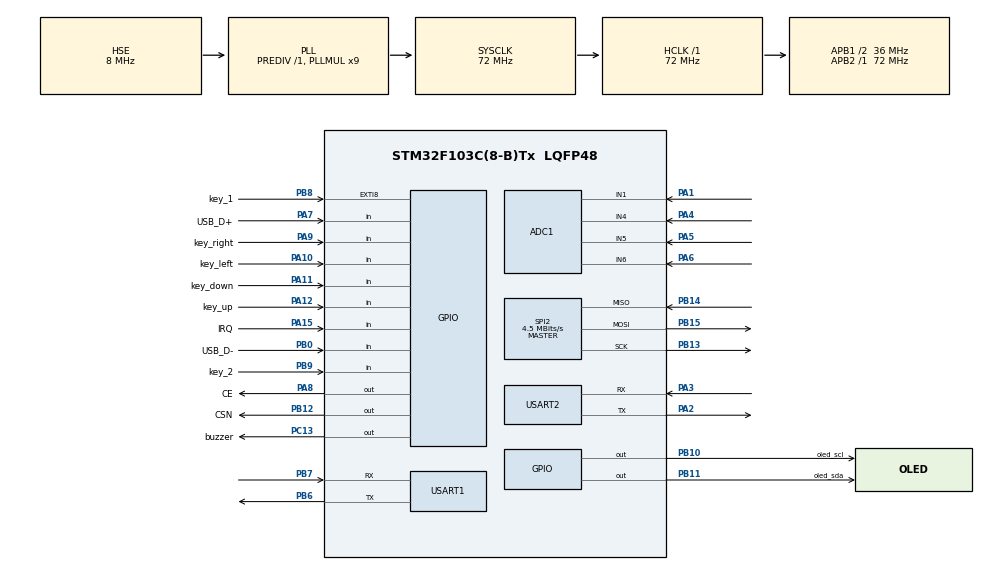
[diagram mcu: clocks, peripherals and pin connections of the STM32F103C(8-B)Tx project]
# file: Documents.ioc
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ADC1.Channel-0\#ChannelRegularConversion=ADC_CHANNEL_1
ADC1.Channel-1\#ChannelInjectedConversion=ADC_CHANNEL_1
ADC1.Channel-2\#ChannelInjectedConversion=ADC_CHANNEL_4
ADC1.Channel-3\#ChannelInjectedConversion=ADC_CHANNEL_5
ADC1.Channel-4\#ChannelInjectedConversion=ADC_CHANNEL_6
ADC1.ContinuousConvMode=ENABLE
ADC1.EnableInjectedConversion=ENABLE
ADC1.ExternalTrigConv=ADC_EXTERNALTRIGCONV_T3_TRGO
ADC1.InjNumberOfConversion=4
ADC1.InjectedOffset-1\#ChannelInjectedConversion=0
ADC1.InjectedOffset-2\#ChannelInjectedConversion=0
ADC1.InjectedOffset-3\#ChannelInjectedConversion=0
ADC1.InjectedOffset-4\#ChannelInjectedConversion=0
ADC1.InjectedRank-1\#ChannelInjectedConversion=1
ADC1.InjectedRank-2\#ChannelInjectedConversion=2
ADC1.InjectedRank-3\#ChannelInjectedConversion=3
ADC1.InjectedRank-4\#ChannelInjectedConversion=4
ADC1.NbrOfConversionFlag=1
ADC1.Rank-0\#ChannelRegularConversion=1
ADC1.SamplingTime-0\#ChannelRegularConversion=ADC_SAMPLETIME_55CYCLES_5
ADC1.SamplingTime-1\#ChannelInjectedConversion=ADC_SAMPLETIME_55CYCLES_5
ADC1.SamplingTime-2\#ChannelInjectedConversion=ADC_SAMPLETIME_55CYCLES_5
ADC1.SamplingTime-3\#ChannelInjectedConversion=ADC_SAMPLETIME_55CYCLES_5
ADC1.SamplingTime-4\#ChannelInjectedConversion=ADC_SAMPLETIME_55CYCLES_5
ADC1.master=1
Dma.ADC1.0.Direction=DMA_PERIPH_TO_MEMORY
Dma.ADC1.0.Instance=DMA1_Channel1
Dma.ADC1.0.MemDataAlignment=DMA_MDATAALIGN_HALFWORD
Dma.ADC1.0.MemInc=DMA_MINC_ENABLE
Dma.ADC1.0.Mode=DMA_CIRCULAR
Dma.ADC1.0.PeriphDataAlignment=DMA_PDATAALIGN_HALFWORD
Dma.ADC1.0.PeriphInc=DMA_PINC_DISABLE
Dma.ADC1.0.Priority=DMA_PRIORITY_LOW
Dma.Request0=ADC1
Mcu.Family=STM32F1
Mcu.Name=STM32F103C(8-B)Tx
Mcu.Package=LQFP48
NVIC.ADC1_2_IRQn=true\:0\:0\:false\:false\:true\:true\:true\:true
NVIC.DMA1_Channel1_IRQn=true\:0\:0\:false\:false\:true\:false\:true\:true
NVIC.PriorityGroup=NVIC_PRIORITYGROUP_4
NVIC.USART1_IRQn=true\:0\:0\:false\:false\:true\:true\:true\:true
NVIC.USART2_IRQn=true\:0\:0\:false\:false\:true\:true\:true\:true
PA0-WKUP.Mode=SYS_WakeUp0
PA0-WKUP.Signal=SYS_WKUP
PA1.Signal=ADCx_IN1
PA10.GPIO_Label=key_left
PA10.GPIO_PuPd=GPIO_PULLUP
PA10.Signal=GPIO_Input
PA11.GPIO_Label=key_down
PA11.GPIO_PuPd=GPIO_PULLUP
PA11.Signal=GPIO_Input
PA12.GPIO_Label=key_up
PA12.GPIO_PuPd=GPIO_PULLUP
PA12.Signal=GPIO_Input
PA13.Mode=Serial_Wire
PA13.Signal=SYS_JTMS-SWDIO
PA14.Mode=Serial_Wire
PA14.Signal=SYS_JTCK-SWCLK
PA15.GPIO_Label=IRQ
PA15.GPIO_PuPd=GPIO_PULLUP
PA15.Signal=GPIO_Input
PA2.Mode=Asynchronous
PA2.Signal=USART2_TX
PA3.Mode=Asynchronous
PA3.Signal=USART2_RX
PA4.Signal=ADCx_IN4
PA5.Signal=ADCx_IN5
PA6.Signal=ADCx_IN6
PA7.GPIO_Label=USB_D+
PA7.Signal=GPIO_Input
PA8.GPIO_Label=CE
PA8.Signal=GPIO_Output
PA9.GPIO_Label=key_right
PA9.GPIO_PuPd=GPIO_PULLUP
PA9.Signal=GPIO_Input
PB0.GPIO_Label=USB_D-
PB0.Signal=GPIO_Input
PB10.GPIO_Label=oled_scl
PB10.GPIO_PuPd=GPIO_PULLUP
PB10.Signal=GPIO_Output
PB11.GPIO_Label=oled_sda
PB11.GPIO_PuPd=GPIO_PULLDOWN
PB11.GPIO_Speed=GPIO_SPEED_FREQ_LOW
PB11.Signal=GPIO_Output
PB12.GPIO_Label=CSN
PB12.Signal=GPIO_Output
PB13.Mode=Full_Duplex_Master
PB13.Signal=SPI2_SCK
PB14.Mode=Full_Duplex_Master
PB14.Signal=SPI2_MISO
PB15.Mode=Full_Duplex_Master
PB15.Signal=SPI2_MOSI
PB6.Mode=Asynchronous
PB6.Signal=USART1_TX
PB7.Mode=Asynchronous
PB7.Signal=USART1_RX
PB8.GPIO_Label=key_1
PB8.GPIO_PuPd=GPIO_PULLUP
PB8.Signal=GPXTI8
PB9.GPIO_Label=key_2
PB9.GPIO_PuPd=GPIO_PULLUP
PB9.Signal=GPIO_Input
PC13-TAMPER-RTC.GPIO_Label=buzzer
PC13-TAMPER-RTC.Signal=GPIO_Output
PD0-OSC_IN.Mode=HSE-External-Oscillator
PD0-OSC_IN.Signal=RCC_OSC_IN
PD1-OSC_OUT.Mode=HSE-External-Oscillator
PD1-OSC_OUT.Signal=RCC_OSC_OUT
ProjectManager.HeapSize=0x200
ProjectManager.StackSize=0x400
ProjectManager.TargetToolchain=MDK-ARM V5
RCC.ADCPresc=RCC_ADCPCLK2_DIV6
RCC.AHBFreq_Value=72000000
RCC.APB1CLKDivider=RCC_HCLK_DIV2
RCC.APB1Freq_Value=36000000
RCC.APB1TimFreq_Value=72000000
RCC.APB2Freq_Value=72000000
RCC.APB2TimFreq_Value=72000000
RCC.HCLKFreq_Value=72000000
RCC.PLLMUL=RCC_PLL_MUL9
RCC.PLLSourceVirtual=RCC_PLLSOURCE_HSE
RCC.SYSCLKFreq_VALUE=72000000
RCC.SYSCLKSource=RCC_SYSCLKSOURCE_PLLCLK
RCC.USBFreq_Value=72000000
SH.ADCx_IN1.0=ADC1_IN1,IN1
SH.ADCx_IN4.0=ADC1_IN4,IN4
SH.ADCx_IN5.0=ADC1_IN5,IN5
SH.ADCx_IN6.0=ADC1_IN6,IN6
SPI2.BaudRatePrescaler=SPI_BAUDRATEPRESCALER_8
SPI2.CalculateBaudRate=4.5 MBits/s
SPI2.Direction=SPI_DIRECTION_2LINES
SPI2.Mode=SPI_MODE_MASTER
SPI2.VirtualType=VM_MASTER
USART1.VirtualMode=VM_ASYNC
USART2.VirtualMode=VM_ASYNC
board=custom

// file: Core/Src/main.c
/* USER CODE BEGIN Header */
/**目前是有手柄状态扫描部分，按键蜂鸣器部分，差发送数据部分，只有蓝牙。
  ******************************************************************************
  * @file           : main.c
  * @brief          : Main program body
  ******************************************************************************
  * @attention
  *
  * Copyright (c) 2024 STMicroelectronics.
  * All rights reserved.
  *
  * This software is licensed under terms that can be found in the LICENSE file
  * in the root directory of this software component.
  * If no LICENSE file comes with this software, it is provided AS-IS.
  *
  ******************************************************************************
  */
/* USER CODE END Header */
#include "main.h"
#include "adc.h"
#include "dma.h"
#include "spi.h"
#include "usart.h"
#include "gpio.h"
#include "cmd.h"

/* USER CODE BEGIN PV */
uint32_t  recv_buff[5];
/* USER CODE END PV */

void SystemClock_Config(void);

int main(void)
{

  /* MCU Configuration--------------------------------------------------------*/

  /* Reset of all peripherals, Initializes the Flash interface and the Systick. */
  HAL_Init();

  /* Configure the system clock */
  SystemClock_Config();

  /* Initialize all configured peripherals */
  MX_GPIO_Init();
  MX_DMA_Init();
  MX_ADC1_Init();
  MX_USART1_UART_Init();
  MX_USART2_UART_Init();
  MX_SPI2_Init();
  /* USER CODE BEGIN 2 */

//按键
		if( HAL_GPIO_ReadPin(GPIOA, key_left_Pin)==0)
		  {
			 HAL_GPIO_TogglePin(buzzer_GPIO_Port, buzzer_Pin);
//			  HAL_UART_Transmit_IT(&huart1, recv_buff,5);
		  }
		  if( HAL_GPIO_ReadPin(GPIOA, key_right_Pin)==0)
		  {
			 HAL_GPIO_TogglePin(buzzer_GPIO_Port, buzzer_Pin);
//			  HAL_UART_Transmit_IT(&huart1, recv_buff,5);
		  }
		  if( HAL_GPIO_ReadPin(GPIOA, key_up_Pin)==0)
		  {
			 HAL_GPIO_TogglePin(buzzer_GPIO_Port, buzzer_Pin);
//			  HAL_UART_Transmit_IT(&huart1, recv_buff,5);
		  }
		  if( HAL_GPIO_ReadPin(GPIOA, key_down_Pin)==0)
		  {
			 HAL_GPIO_TogglePin(buzzer_GPIO_Port, buzzer_Pin);
//			  HAL_UART_Transmit_IT(&huart1, recv_buff,5);
		  }
		  /*****************************ADC*************************/
  HAL_ADCEx_Calibration_Start(&hadc1 );//adc校准
  HAL_ADC_Start_DMA(&hadc1, (uint32_t *)My_adcData, adc_max );
  ADC_dispose ();

 //判断信息的结论是什么
		  if(adcValue .value1>1800)
 {

 }

 //发送信息
  uint32_t  recv_buff[4];
 HAL_UART_Transmit_IT(&huart1,recv_buff,sizeof(recv_buff));
HAL_Delay(1000);
		  /* USER CODE END 2 */

  /* Infinite loop */
  while (1)
  {

  }
}

void SystemClock_Config(void)
{
  RCC_OscInitTypeDef RCC_OscInitStruct = {0};
  RCC_ClkInitTypeDef RCC_ClkInitStruct = {0};
  RCC_PeriphCLKInitTypeDef PeriphClkInit = {0};

  /** Initializes the RCC Oscillators according to the specified parameters
  * in the RCC_OscInitTypeDef structure.
  */
  RCC_OscInitStruct.OscillatorType = RCC_OSCILLATORTYPE_HSE;
  RCC_OscInitStruct.HSEState = RCC_HSE_ON;
  RCC_OscInitStruct.HSEPredivValue = RCC_HSE_PREDIV_DIV1;
  RCC_OscInitStruct.HSIState = RCC_HSI_ON;
  RCC_OscInitStruct.PLL.PLLState = RCC_PLL_ON;
  RCC_OscInitStruct.PLL.PLLSource = RCC_PLLSOURCE_HSE;
  RCC_OscInitStruct.PLL.PLLMUL = RCC_PLL_MUL9;
  if (HAL_RCC_OscConfig(&RCC_OscInitStruct) != HAL_OK)
  {
    Error_Handler();
  }

  /** Initializes the CPU, AHB and APB buses clocks
  */
  RCC_ClkInitStruct.ClockType = RCC_CLOCKTYPE_HCLK|RCC_CLOCKTYPE_SYSCLK
                              |RCC_CLOCKTYPE_PCLK1|RCC_CLOCKTYPE_PCLK2;
  RCC_ClkInitStruct.SYSCLKSource = RCC_SYSCLKSOURCE_PLLCLK;
  RCC_ClkInitStruct.AHBCLKDivider = RCC_SYSCLK_DIV1;
  RCC_ClkInitStruct.APB1CLKDivider = RCC_HCLK_DIV2;
  RCC_ClkInitStruct.APB2CLKDivider = RCC_HCLK_DIV1;

  if (HAL_RCC_ClockConfig(&RCC_ClkInitStruct, FLASH_LATENCY_2) != HAL_OK)
  {
    Error_Handler();
  }
  PeriphClkInit.PeriphClockSelection = RCC_PERIPHCLK_ADC;
  PeriphClkInit.AdcClockSelection = RCC_ADCPCLK2_DIV6;
  if (HAL_RCCEx_PeriphCLKConfig(&PeriphClkInit) != HAL_OK)
  {
    Error_Handler();
  }
}

void Error_Handler(void)
{
  __disable_irq();
  while (1)
  {
  }
}
